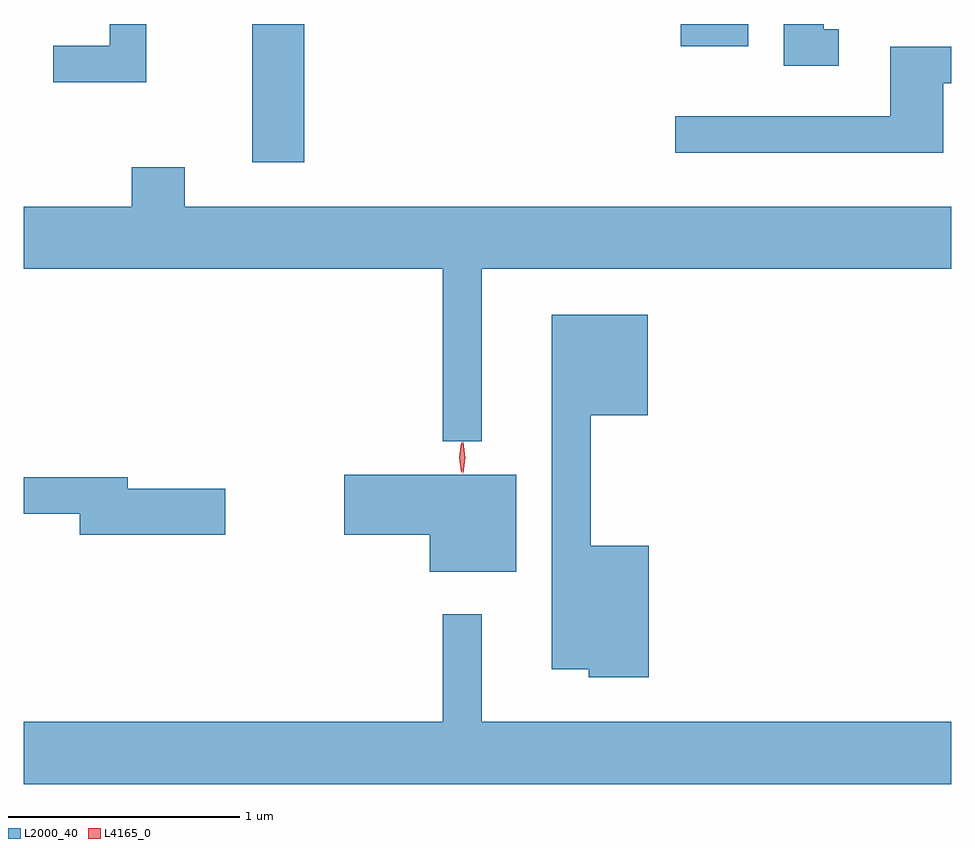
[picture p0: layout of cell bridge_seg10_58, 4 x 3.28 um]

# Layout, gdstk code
import gdstk
lib = gdstk.Library(unit=1e-6, precision=1e-09)
def R(c, l, rs):  # rectangles x0, y0, x1, y1
    for r in rs: c.add(gdstk.rectangle(r[:2], r[2:], *l))
def P(c, l, *ps):  # polygons
    for p in ps: c.add(gdstk.Polygon(p, *l))
L2000_40 = (2000, 40)
L4165_0 = (4165, 0)

bridge_seg10_58 = lib.new_cell('bridge_seg10_58')
R(bridge_seg10_58, L2000_40, [(1557.261,2194.296,1557.484,2194.892), (1559.106,2194.796,1559.399,2194.892)])
P(bridge_seg10_58, L2000_40, [(1556.804,2194.892),(1556.646,2194.892),(1556.646,2194.799),(1556.403,2194.799),(1556.403,2194.641),(1556.804,2194.641)],
  [(1559.788,2194.869),(1559.724,2194.869),(1559.724,2194.892),(1559.551,2194.892),(1559.551,2194.711),(1559.788,2194.711)],
  [(1560.239,2194.636),(1560.274,2194.636),(1560.274,2194.794),(1560.011,2194.794),(1560.011,2194.494),(1559.083,2194.494),(1559.083,2194.336),(1560.239,2194.336)],
  [(1558.249,2193.836),(1560.274,2193.836),(1560.274,2194.104),(1556.969,2194.104),(1556.969,2194.274),(1556.741,2194.274),(1556.741,2194.104),(1556.274,2194.104),(1556.274,2193.836),(1558.081,2193.836),(1558.081,2193.093),(1558.249,2193.093)],
  [(1558.969,2192.644),(1558.719,2192.644),(1558.719,2193.206),(1558.964,2193.206),(1558.964,2193.639),(1558.551,2193.639),(1558.551,2192.111),(1558.711,2192.111),(1558.711,2192.076),(1558.969,2192.076)],
  [(1558.399,2192.949),(1557.656,2192.949),(1557.656,2192.691),(1558.026,2192.691),(1558.026,2192.531),(1558.399,2192.531)],
  [(1557.144,2192.889),(1556.724,2192.889),(1556.724,2192.939),(1556.274,2192.939),(1556.274,2192.781),(1556.516,2192.781),(1556.516,2192.691),(1557.144,2192.691)],
  [(1560.274,2191.884),(1558.249,2191.884),(1558.249,2192.348),(1558.081,2192.348),(1558.081,2191.884),(1556.274,2191.884),(1556.274,2191.616),(1560.274,2191.616)])
P(bridge_seg10_58, L4165_0, [(1558.169,2192.954),(1558.169,2192.954),(1558.159,2193.022),(1558.168,2193.09),(1558.168,2193.09),(1558.169,2193.09),(1558.179,2193.022),(1558.17,2192.954)],
  [(1558.161,2192.96),(1558.152,2193.024),(1558.161,2193.086),(1558.162,2193.087),(1558.162,2193.086),(1558.172,2193.024),(1558.162,2192.96),(1558.162,2192.96)])

lib.write_gds('bridge_seg10_58.gds')
